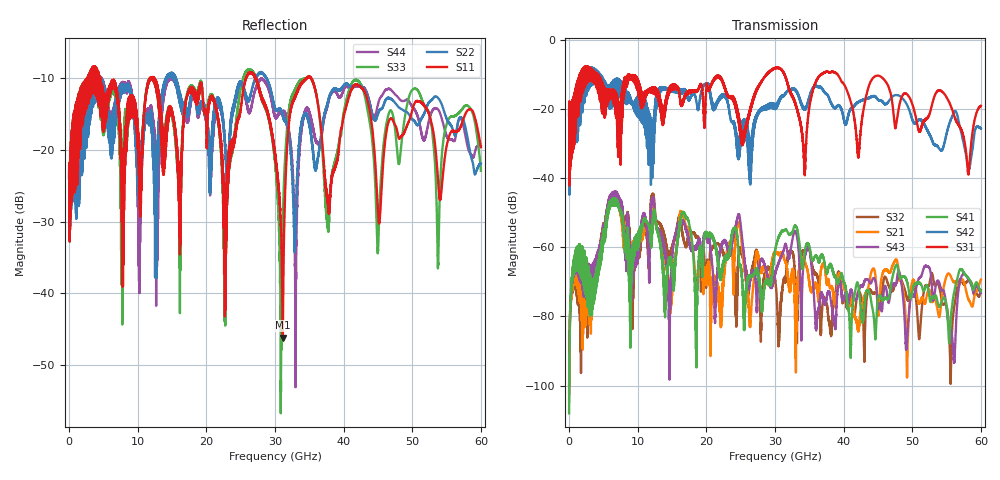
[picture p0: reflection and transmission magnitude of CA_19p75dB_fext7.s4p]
!4 port subset of full cascaded channels using these ports:15 37 16 38
# Hz S RI R 50
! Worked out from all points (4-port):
!   6000 points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, 10 MHz to 60 GHz, reference 50 ohm
!   strongest paths, dB at 10 MHz, 15.01 GHz, 30.01 GHz, 45.01 GHz, 60 GHz:
!     S31: -21.8, -13.5, -8.2, -10.4, -19.2
!     S42: -21.9, -14.4, -18.7, -17.3, -25.7
!     S41: -108.0, -64.7, -61.1, -74.7, -72.8
!     S43: -104.5, -63.0, -67.6, -77.7, -73.3
!     S21: -102.1, -72.1, -61.5, -79.4, -69.4
!     S32: -99.9, -60.3, -69.0, -74.2, -72.4
!   lowest |S11| = -46.2 dB at 31.14 GHz (marker M1), VSWR 1.01, Z = 49.5 + j0.155 ohm
!   |S11| at or under -10 dB: 12.46 GHz to 25.77 GHz (13.31 GHz wide, 69.6 % of centre); 27.22 GHz to 34.55 GHz (7.322 GHz wide, 23.7 % of centre); 35.28 GHz to end of sweep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
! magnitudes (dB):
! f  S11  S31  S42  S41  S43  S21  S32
! 10 MHz  -23.9  -21.8  -21.9  -108.0  -104.5  -102.1  -99.9
! 6.61 GHz  -10.5  -14.7  -12.0  -48.0  -46.0  -47.5  -45.9
! 14.59 GHz  -14.1  -14.1  -14.3  -63.4  -97.7  -77.1  -63.3
! 16.38 GHz  -22.8  -19.1  -14.9  -51.0  -52.7  -50.3  -54.4
! 31.14 GHz  -46.2  -9.1  -16.4  -55.3  -61.7  -62.2  -70.8
! 34.74 GHz  -9.9  -24.2  -18.6  -58.8  -60.0  -66.8  -60.2
! 60 GHz  -19.6  -19.2  -25.7  -72.8  -73.3  -69.4  -72.4
